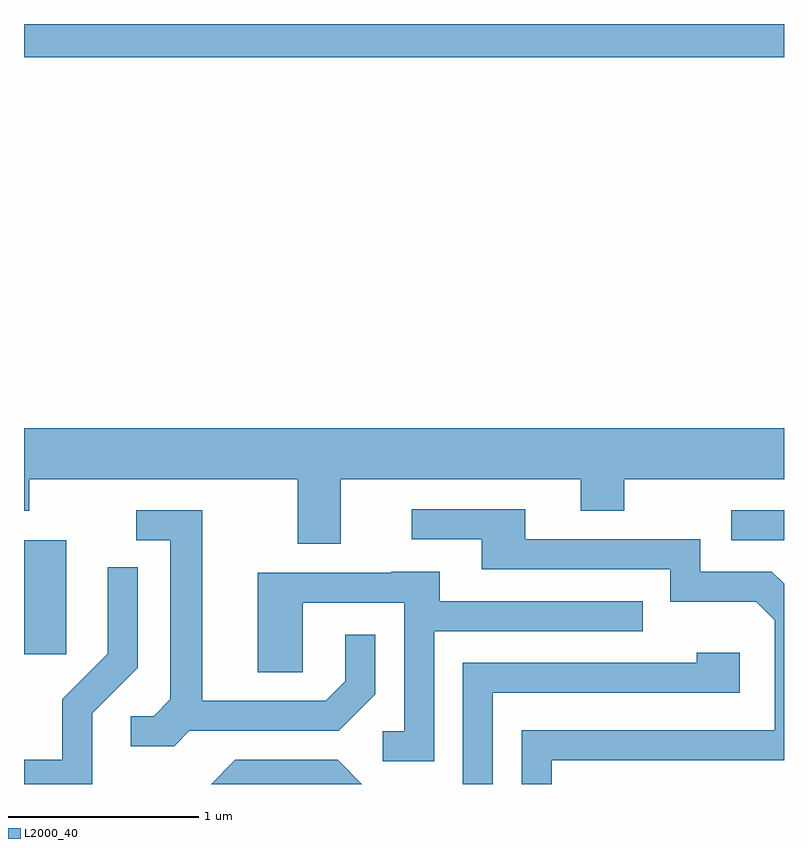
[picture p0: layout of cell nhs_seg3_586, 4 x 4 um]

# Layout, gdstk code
import gdstk
lib = gdstk.Library(unit=1e-6, precision=1e-09)
def R(c, l, rs):  # rectangles x0, y0, x1, y1
    for r in rs: c.add(gdstk.rectangle(r[:2], r[2:], *l))
def P(c, l, *ps):  # polygons
    for p in ps: c.add(gdstk.Polygon(p, *l))
L2000_40 = (2000, 40)

nhs_seg3_586 = lib.new_cell('nhs_seg3_586')
R(nhs_seg3_586, L2000_40, [(201.611,1200.576,201.834,1201.174), (205.333,1201.176,205.611,1201.334), (201.611,1203.716,205.611,1203.892)])
P(nhs_seg3_586, L2000_40, [(203.279,1201.496),(204.541,1201.496),(204.541,1201.331),(204.769,1201.331),(204.769,1201.496),(205.611,1201.496),(205.611,1201.764),(201.611,1201.764),(201.611,1201.331),(201.639,1201.331),(201.639,1201.496),(203.051,1201.496),(203.051,1201.156),(203.279,1201.156)],
  [(204.389,1200.016),(205.611,1200.016),(205.611,1200.945),(205.547,1201.009),(205.169,1201.009),(205.169,1201.179),(204.249,1201.179),(204.249,1201.339),(203.653,1201.339),(203.653,1201.181),(204.021,1201.181),(204.021,1201.021),(205.011,1201.021),(205.011,1200.851),(205.464,1200.851),(205.561,1200.754),(205.561,1200.174),(204.231,1200.174),(204.231,1199.892),(204.389,1199.892)],
  [(202.482,1200.171),(203.267,1200.171),(203.459,1200.364),(203.459,1200.678),(203.301,1200.678),(203.301,1200.432),(203.199,1200.329),(202.549,1200.329),(202.549,1201.334),(202.203,1201.334),(202.203,1201.176),(202.381,1201.176),(202.381,1200.337),(202.294,1200.249),(202.173,1200.249),(202.173,1200.091),(202.402,1200.091)],
  [(201.969,1200.264),(202.209,1200.504),(202.209,1201.033),(202.051,1201.033),(202.051,1200.577),(201.811,1200.337),(201.811,1200.019),(201.611,1200.019),(201.611,1199.892),(201.969,1199.892)],
  [(203.769,1200.696),(204.868,1200.696),(204.868,1200.854),(203.799,1200.854),(203.799,1201.009),(203.545,1201.009),(203.545,1201.004),(202.841,1201.004),(202.841,1200.481),(203.079,1200.481),(203.079,1200.846),(203.611,1200.846),(203.611,1200.169),(203.498,1200.169),(203.498,1200.011),(203.769,1200.011)],
  [(204.079,1200.371),(205.379,1200.371),(205.379,1200.584),(205.151,1200.584),(205.151,1200.529),(203.921,1200.529),(203.921,1199.892),(204.079,1199.892)],
  [(203.262,1200.019),(202.724,1200.019),(202.597,1199.892),(203.389,1199.892)])

lib.write_gds('nhs_seg3_586.gds')
